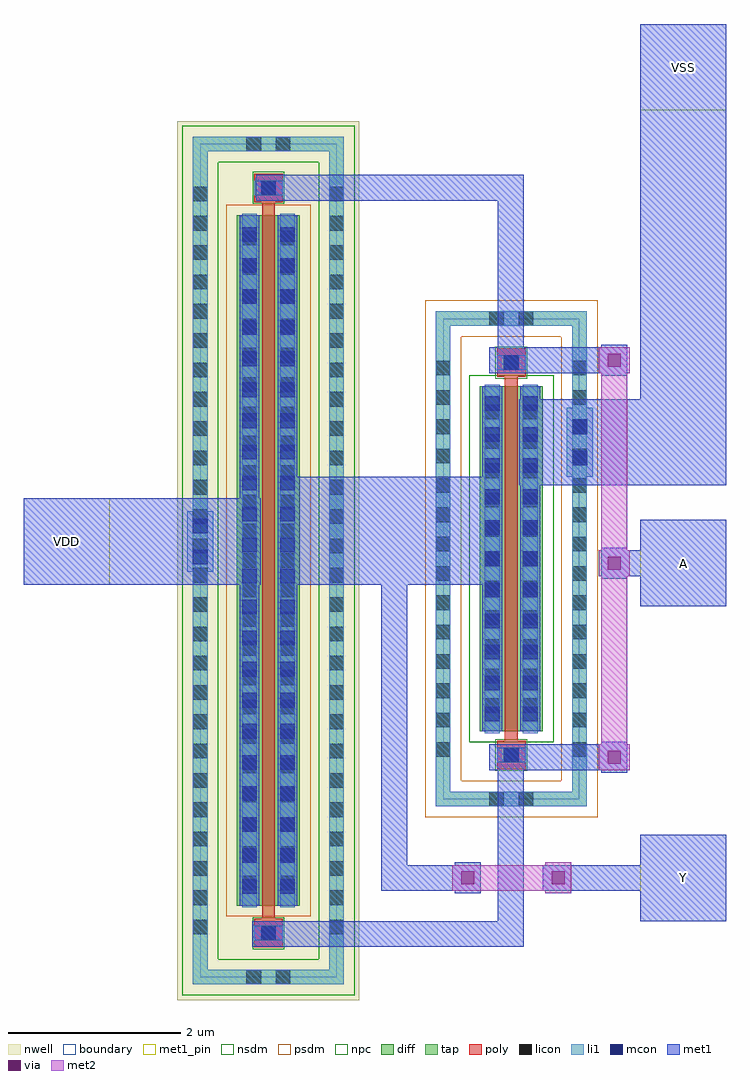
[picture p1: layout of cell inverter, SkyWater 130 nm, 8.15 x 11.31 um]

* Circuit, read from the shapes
.subckt inverter A VDD VSS Y
XM1 VSS A Y VSS sky130_fd_pr__nfet_01v8 w=4 l=0.15
XM2 Y A VDD VDD sky130_fd_pr__pfet_01v8 w=8 l=0.15
.ends

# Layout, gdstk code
import gdstk
lib = gdstk.Library(unit=1e-6, precision=1e-09)
def R(c, l, rs):  # rectangles x0, y0, x1, y1
    for r in rs: c.add(gdstk.rectangle(r[:2], r[2:], *l))
def A(c, l, x, y, w, h, nx, ny, dx, dy):  # array of equal rectangles
    R(c, l, [(x+i*dx, y+j*dy, x+i*dx+w, y+j*dy+h) for i in range(nx) for j in range(ny)])
nwell = (64, 20)
diff = (65, 20)
tap = (65, 44)
poly = (66, 20)
licon = (66, 44)
li1 = (67, 20)
mcon = (67, 44)
met1_pin = (68, 16)
met1 = (68, 20)
via = (68, 44)
met2 = (69, 20)
nsdm = (93, 44)
psdm = (94, 20)
npc = (95, 20)
boundary = (235, 4)

sky130_fd_pr__nfet_01v8_ = lib.new_cell('sky130_fd_pr__nfet_01v8_PWNS5P')
R(sky130_fd_pr__nfet_01v8_, diff, [(-0.365,-2,0.365,2)])
R(sky130_fd_pr__nfet_01v8_, tap, [(-0.875,-2.87,0.875,-2.7), (-0.875,-2.7,-0.705,2.7), (0.705,-2.7,0.875,2.7), (-0.875,2.7,0.875,2.87)])
R(sky130_fd_pr__nfet_01v8_, poly, [(-0.165,-2.44,0.165,-2.11), (-0.075,-2.11,0.075,2.11), (-0.165,2.11,0.165,2.44)])
A(sky130_fd_pr__nfet_01v8_, licon, -0.875, -2.295, 0.17, 0.17, 1, 14, 0, 0.34)
A(sky130_fd_pr__nfet_01v8_, licon, 0.705, -2.295, 0.17, 0.17, 1, 14, 0, 0.34)
A(sky130_fd_pr__nfet_01v8_, licon, -0.305, -1.785, 0.17, 0.17, 1, 11, 0, 0.34)
A(sky130_fd_pr__nfet_01v8_, licon, 0.135, -1.785, 0.17, 0.17, 1, 11, 0, 0.34)
R(sky130_fd_pr__nfet_01v8_, licon, [(-0.255,-2.87,-0.085,-2.7), (0.085,-2.87,0.255,-2.7), (-0.085,-2.36,0.085,-2.19), (-0.085,2.19,0.085,2.36), (-0.255,2.7,-0.085,2.87), (0.085,2.7,0.255,2.87)])
R(sky130_fd_pr__nfet_01v8_, li1, [(-0.875,-2.87,0.875,-2.7), (-0.875,-2.7,-0.705,2.7), (0.705,-2.7,0.875,2.7), (-0.165,-2.36,0.165,-2.19), (-0.305,-2.02,-0.135,2.02), (0.135,-2.02,0.305,2.02), (-0.165,2.19,0.165,2.36), (-0.875,2.7,0.875,2.87)])
A(sky130_fd_pr__nfet_01v8_, mcon, -0.305, -1.885, 0.17, 0.17, 1, 11, 0, 0.36)
A(sky130_fd_pr__nfet_01v8_, mcon, 0.135, -1.885, 0.17, 0.17, 1, 11, 0, 0.36)
R(sky130_fd_pr__nfet_01v8_, mcon, [(-0.085,-2.36,0.085,-2.19), (-0.085,2.19,0.085,2.36)])
R(sky130_fd_pr__nfet_01v8_, met1, [(-0.145,-2.39,0.145,-2.16), (-0.335,-2,-0.105,2), (0.105,-2,0.335,2), (-0.145,2.16,0.145,2.39)])
R(sky130_fd_pr__nfet_01v8_, nsdm, [(-0.49,-2.125,0.49,2.125)])
R(sky130_fd_pr__nfet_01v8_, psdm, [(-1,-2.995,1,-2.575), (-1,-2.575,-0.58,2.575), (0.58,-2.575,1,2.575), (-1,2.575,1,2.995)])
R(sky130_fd_pr__nfet_01v8_, npc, [(-0.185,-2.46,0.185,-2.09), (-0.185,2.09,0.185,2.46)])
R(sky130_fd_pr__nfet_01v8_, boundary, [(-0.79,-2.785,0.79,2.785)])

sky130_fd_pr__pfet_01v8_ = lib.new_cell('sky130_fd_pr__pfet_01v8_UGACMG')
R(sky130_fd_pr__pfet_01v8_, nwell, [(-1.055,-5.095,1.055,5.095)])
R(sky130_fd_pr__pfet_01v8_, diff, [(-0.365,-4,0.365,4)])
R(sky130_fd_pr__pfet_01v8_, tap, [(-0.875,-4.915,0.875,-4.745), (-0.875,-4.745,-0.705,4.745), (0.705,-4.745,0.875,4.745), (-0.875,4.745,0.875,4.915)])
R(sky130_fd_pr__pfet_01v8_, poly, [(-0.165,-4.485,0.165,-4.155), (-0.075,-4.155,0.075,4.155), (-0.165,4.155,0.165,4.485)])
A(sky130_fd_pr__pfet_01v8_, licon, -0.875, -4.335, 0.17, 0.17, 1, 26, 0, 0.34)
A(sky130_fd_pr__pfet_01v8_, licon, 0.705, -4.335, 0.17, 0.17, 1, 26, 0, 0.34)
A(sky130_fd_pr__pfet_01v8_, licon, -0.305, -3.825, 0.17, 0.17, 1, 23, 0, 0.34)
A(sky130_fd_pr__pfet_01v8_, licon, 0.135, -3.825, 0.17, 0.17, 1, 23, 0, 0.34)
R(sky130_fd_pr__pfet_01v8_, licon, [(-0.255,-4.915,-0.085,-4.745), (0.085,-4.915,0.255,-4.745), (-0.085,-4.405,0.085,-4.235), (-0.085,4.235,0.085,4.405), (-0.255,4.745,-0.085,4.915), (0.085,4.745,0.255,4.915)])
R(sky130_fd_pr__pfet_01v8_, li1, [(-0.875,-4.915,0.875,-4.745), (-0.875,-4.745,-0.705,4.745), (0.705,-4.745,0.875,4.745), (-0.165,-4.405,0.165,-4.235), (-0.305,-4.02,-0.135,4.02), (0.135,-4.02,0.305,4.02), (-0.165,4.235,0.165,4.405), (-0.875,4.745,0.875,4.915)])
A(sky130_fd_pr__pfet_01v8_, mcon, -0.305, -3.865, 0.17, 0.17, 1, 22, 0, 0.36)
A(sky130_fd_pr__pfet_01v8_, mcon, 0.135, -3.865, 0.17, 0.17, 1, 22, 0, 0.36)
R(sky130_fd_pr__pfet_01v8_, mcon, [(-0.085,-4.405,0.085,-4.235), (-0.085,4.235,0.085,4.405)])
R(sky130_fd_pr__pfet_01v8_, met1, [(-0.145,-4.435,0.145,-4.205), (-0.335,-4,-0.105,4), (0.105,-4,0.335,4), (-0.145,4.205,0.145,4.435)])
R(sky130_fd_pr__pfet_01v8_, nsdm, [(-1,-5.04,1,-4.62), (-1,-4.62,-0.58,4.62), (0.58,-4.62,1,4.62), (-1,4.62,1,5.04)])
R(sky130_fd_pr__pfet_01v8_, psdm, [(-0.49,-4.125,0.49,4.125)])
R(sky130_fd_pr__pfet_01v8_, npc, [(-0.185,-4.505,0.185,-4.135), (-0.185,4.135,0.185,4.505)])
R(sky130_fd_pr__pfet_01v8_, boundary, [(-0.79,-4.83,0.79,4.83)])

inverter = lib.new_cell('inverter')
R(inverter, li1, [(-0.15,7.7,0.15,8.4), (4.25,8.8,4.55,9.6)])
R(inverter, mcon, [(-0.085,7.785,0.085,7.955), (-0.085,8.145,0.085,8.315), (4.315,8.935,4.485,9.105), (4.315,9.295,4.485,9.465)])
R(inverter, met1_pin, [(5.1,3.65,6.1,4.65), (5.1,7.3,6.1,8.3), (-2.05,7.55,-1.05,8.55), (5.1,13.05,6.1,14.05)])
R(inverter, met1, [(0.6,3.35,3.75,3.65), (3.45,3.65,3.75,5.4), (5.1,3.65,6.1,4), (2.95,3.97,3.25,4), (2.1,4,3.25,4.3), (3.97,4,6.1,4.3), (2.1,4.3,2.4,7.55), (2.95,4.3,3.25,4.33), (5.1,4.3,6.1,4.65), (4.65,5.37,4.95,5.4), (3.35,5.4,4.95,5.7), (4.65,5.7,4.95,5.73), (5.1,7.3,6.1,7.65), (-2.05,7.55,0.7,8.55), (0.9,7.55,3.5,8.8), (4.65,7.62,4.95,7.65), (4.65,7.65,6.1,7.95), (4.65,7.95,4.95,7.98), (5.1,7.95,6.1,8.3), (3.7,8.7,6.1,9.7), (5.1,9.7,6.1,14.05), (4.65,9.97,4.95,10), (3.35,10,4.95,10.3), (3.45,10.3,3.75,12), (4.65,10.3,4.95,10.33), (0.65,12,3.75,12.3)])
R(inverter, via, [(3.025,4.075,3.175,4.225), (4.075,4.075,4.225,4.225), (4.725,5.475,4.875,5.625), (4.725,7.725,4.875,7.875), (4.725,10.075,4.875,10.225)])
R(inverter, met2, [(4,3.97,4.3,4), (2.92,4,4.3,4.3), (4,4.3,4.3,4.33), (4.62,5.4,4.98,5.7), (4.65,5.7,4.95,7.65), (4.62,7.65,4.98,7.95), (4.65,7.95,4.95,10), (4.62,10,4.98,10.3)])
inverter.add(gdstk.Reference(sky130_fd_pr__nfet_01v8_, (3.605,7.85)))
inverter.add(gdstk.Reference(sky130_fd_pr__pfet_01v8_, (0.79,7.83)))
inverter.add(gdstk.Label('VDD', (-1.55,8.05), layer=68, texttype=5))
inverter.add(gdstk.Label('VSS', (5.6,13.55), layer=68, texttype=5))
inverter.add(gdstk.Label('A', (5.6,7.8), layer=68, texttype=5))
inverter.add(gdstk.Label('Y', (5.6,4.15), layer=68, texttype=5))

lib.write_gds('inverter.gds')
